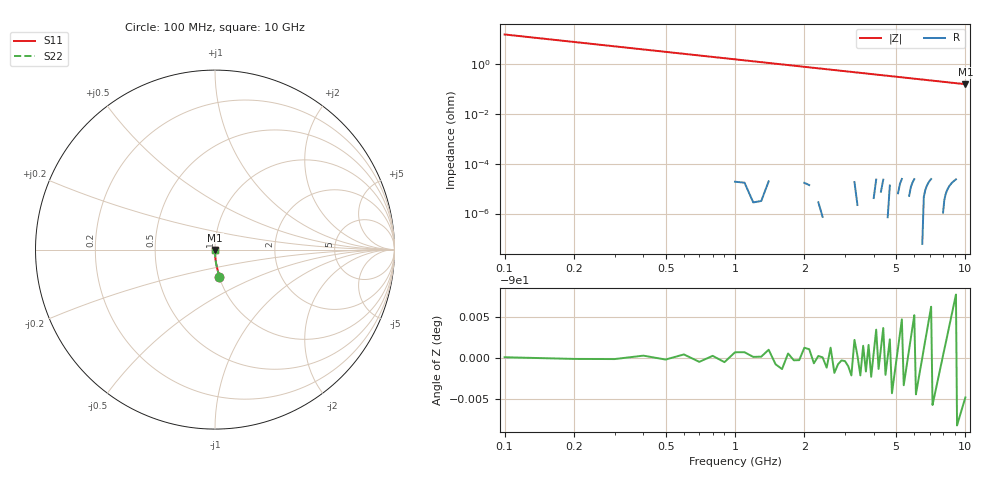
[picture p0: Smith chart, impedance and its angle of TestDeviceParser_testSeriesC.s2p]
# MHz MA S R 50.0
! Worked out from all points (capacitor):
!   100 points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, 100 MHz to 10 GHz, reference 50 ohm
!   read as one part in series: C = 100 pF near 100 MHz
!   lowest |Z| = 159 mohm at 10 GHz (marker M1)
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100  0.1572 -81.0  0.9876 9.0  0.9876 9.0  0.1572 -81.0
200  0.07933 -85.5  0.9968 4.5  0.9968 4.5  0.07933 -85.5
300  0.05298 -87.0  0.9986 3.0  0.9986 3.0  0.05298 -87.0
400  0.03976 -87.7  0.9992 2.3  0.9992 2.3  0.03976 -87.7
500  0.03182 -88.2  0.9995 1.8  0.9995 1.8  0.03182 -88.2
600  0.02652 -88.5  0.9996 1.5  0.9996 1.5  0.02652 -88.5
700  0.02273 -88.7  0.9997 1.3  0.9997 1.3  0.02273 -88.7
800  0.01989 -88.9  0.9998 1.1  0.9998 1.1  0.01989 -88.9
900  0.01768 -89.0  0.9998 1.0  0.9998 1.0  0.01768 -89.0
1100  0.01447 -89.2  0.9999 0.8  0.9999 0.8  0.01447 -89.2
1400  0.01137 -89.3  0.9999 0.7  0.9999 0.7  0.01137 -89.3
1800  0.008842 -89.5  1 0.5  1 0.5  0.008842 -89.5
2100  0.007579 -89.6  1 0.4  1 0.4  0.007579 -89.6
2500  0.006366 -89.6  1 0.4  1 0.4  0.006366 -89.6
2900  0.005488 -89.7  1 0.3  1 0.3  0.005488 -89.7
3400  0.004681 -89.7  1 0.3  1 0.3  0.004681 -89.7
4200  0.003789 -89.8  1 0.2  1 0.2  0.003789 -89.8
5100  0.003121 -89.8  1 0.2  1 0.2  0.003121 -89.8
5800  0.002744 -89.8  1 0.2  1 0.2  0.002744 -89.8
6700  0.002375 -89.9  1 0.1  1 0.1  0.002375 -89.9
8400  0.001895 -89.9  1 0.1  1 0.1  0.001895 -89.9
10000  0.001592 -89.9  1 0.1  1 0.1  0.001592 -89.9
